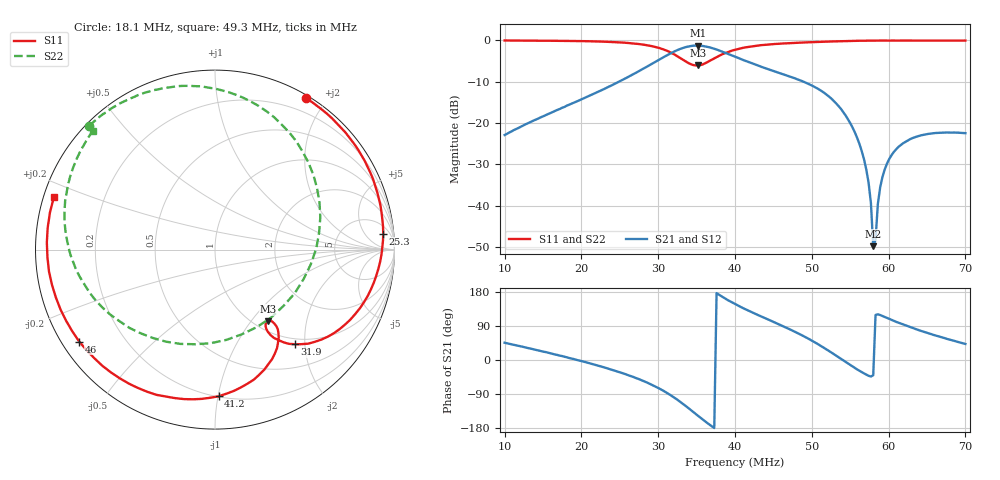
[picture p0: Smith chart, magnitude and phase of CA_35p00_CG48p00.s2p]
#  HZ  S  RI  R  50.00
! Rohde & Schwarz ZVT8 8Ports - Version 4.11 - 1300.0000k08 SN: 100242
! Date: 2026-07-31 14:42:25
! Measurements: S11 S21 S12 S22
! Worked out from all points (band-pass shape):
!   201 points, 10 MHz to 70 MHz, reference 50 ohm
!   highest |S21| = -1.27 dB at 35.2 MHz (marker M1); lowest = -49.8 dB at 58 MHz (marker M2)
!   |S21| within 3 dB of the highest: 30.49 MHz to 40.44 MHz (9.942 MHz wide, 28 % of centre)
!   lowest |S11| = -6.1 dB at 35.2 MHz (marker M3), VSWR 2.97, Z = 57.6 - j60.9 ohm
!   |S11| at or under -10 dB: nowhere
!   |S22| runs from -6.2 to 0.0 dB; largest |S21 - S12| = 0.0034
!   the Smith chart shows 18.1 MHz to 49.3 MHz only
!   S11 on the Smith chart (normalised r, x): 18.1 MHz: 0.03, +1.77; 25.3 MHz: 10, +15; 31.9 MHz: 0.89, -1.80; 41.2 MHz: 0.20, -1.00; 46 MHz: 0.05, -0.31; 49.3 MHz: 0.03, +0.16
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1e7  -0.4095 0.9085  0.0501 0.0512  0.0498 0.0511  -0.9192 0.3855
1.81e7  0.5065 0.8429  0.1609 0.0203  0.1599 0.0196  -0.7024 0.6907
2.02e7  0.7019 0.6792  0.1968 -0.0133  0.1961 -0.0133  -0.6091 0.7632
2.53e7  0.9373 0.0892  0.273 -0.1865  0.2728 -0.1861  -0.262 0.9029
3.01e7  0.6623 -0.4659  0.1529 -0.562  0.1536 -0.5619  0.3295 0.7376
3.19e7  0.4461 -0.5274  -0.0827 -0.7123  -0.0813 -0.711  0.5483 0.4161
3.52e7  0.2962 -0.3986  -0.7281 -0.4652  -0.7267 -0.4648  0.2333 -0.4319
3.7e7  0.3534 -0.4657  -0.8042 -0.0668  -0.8042 -0.0682  -0.2718 -0.5133
4e7  0.182 -0.7464  -0.5363 0.3393  -0.5358 0.3392  -0.7526 -0.153
4.12e7  0.02 -0.8175  -0.4072 0.4007  -0.4086 0.4016  -0.8153 0.0102
4.6e7  -0.7566 -0.5122  -0.0124 0.3959  -0.0106 0.3966  -0.7856 0.469
4.93e7  -0.8976 0.2928  0.157 0.2612  0.1579 0.2612  -0.6821 0.6604
5.02e7  -0.7787 0.547  0.1831 0.2098  0.1832 0.2097  -0.6506 0.7022
5.35e7  0.3129 0.9236  0.1586 0.0198  0.1586 0.0199  -0.5227 0.8333
5.53e7  0.8687 0.4645  0.0846 -0.026  0.0843 -0.026  -0.4408 0.8889
5.68e7  0.9855 -0.0902  0.0297 -0.0211  0.0296 -0.0211  -0.3708 0.9237
5.77e7  0.9089 -0.3953  0.00778 -0.0074  0.00774 -0.00744  -0.3299 0.9395
5.8e7  0.8656 -0.4851  0.00248 -0.0021  0.00247 -0.00211  -0.3155 0.9462
5.89e7  0.6962 -0.7083  -0.00798 0.0146  -0.00796 0.0145  -0.2749 0.9576
6.01e7  0.4184 -0.9001  -0.0117 0.0351  -0.0116 0.0349  -0.2207 0.9714
6.52e7  -0.6248 -0.772  0.0246 0.0698  0.0247 0.0695  -0.00151 0.9951
7e7  -0.9879 -0.1027  0.0558 0.0508  0.0557 0.0506  0.1962 0.9749
